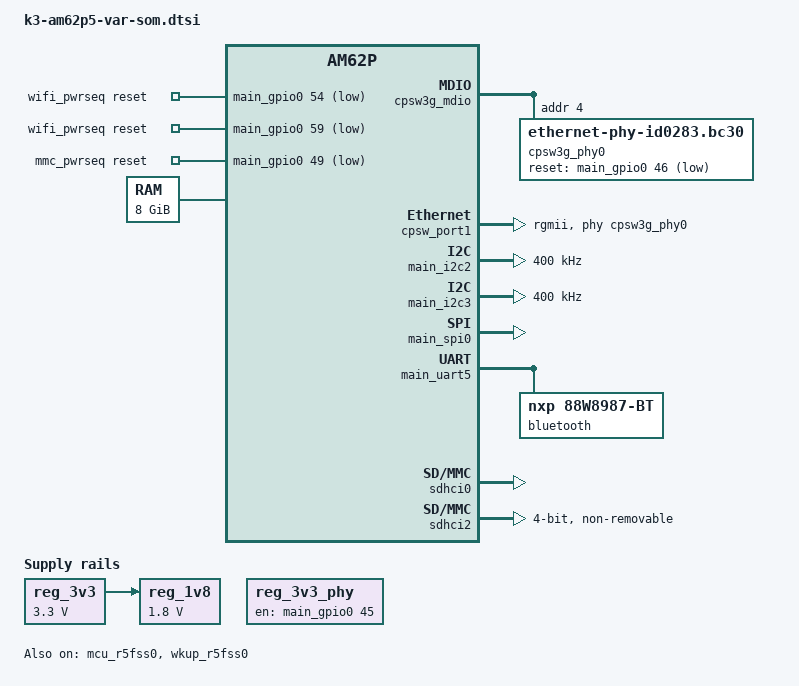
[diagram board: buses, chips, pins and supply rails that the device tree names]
// SPDX-License-Identifier: GPL-2.0
/*
 * Common dtsi for Variscite VAR-SOM-AM62P
 *
 * Link: https://www.variscite.com/product/system-on-module-som/cortex-a53-krait/var-som-am62p-ti-sitara-am62px/
 *
 * Copyright (C) 2025 Variscite Ltd. - https://www.variscite.com/
 *
 */

/dts-v1/;

#include <dt-bindings/gpio/gpio.h>
#include <dt-bindings/input/input.h>
#include <dt-bindings/interrupt-controller/arm-gic.h>
#include <dt-bindings/leds/common.h>
#include <dt-bindings/pwm/pwm.h>
#include "k3-am62p5.dtsi"

/ {
	compatible = "variscite,var-som-am62p", "ti,am62p5";

	wifi_pwrseq: wifi-pwrseq {
		compatible = "mmc-pwrseq-simple";
		post-power-on-delay-ms = <100>;
		power-off-delay-us = <10000>;
		reset-gpios = <&main_gpio0 54 GPIO_ACTIVE_LOW>,	/* WIFI_PWR_EN */
			      <&main_gpio0 59 GPIO_ACTIVE_LOW>;	/* WIFI_EN */
	};

	mmc_pwrseq: mmc-pwrseq {
		compatible = "mmc-pwrseq-emmc";
		pinctrl-names = "default";
		pinctrl-0 = <&pinctrl_mmc_pwrseq>;
		reset-gpios = <&main_gpio0 49 GPIO_ACTIVE_LOW>;
	};

	memory@80000000 {
		/* 8G RAM */
		reg = <0x00000000 0x80000000 0x00000000 0x80000000>,
		      <0x00000008 0x80000000 0x00000001 0x80000000>;
		device_type = "memory";
		bootph-pre-ram;
	};

	opp-table {
		/* Add 1.4GHz OPP for am62p5-sk board. Requires VDD_CORE at 0v85 */
		opp-1400000000 {
			opp-hz = /bits/ 64 <1400000000>;
			opp-supported-hw = <0x01 0x0004>;
			clock-latency-ns = <6000000>;
		};
	};

	reserved_memory: reserved-memory {
		#address-cells = <2>;
		#size-cells = <2>;
		ranges;

		rtos_ipc_memory_region: rtos-ipc-memory@9b500000 {
			compatible = "shared-dma-pool";
			reg = <0x00 0x9b500000 0x00 0x00300000>;
			no-map;
		};

		mcu_r5fss0_core0_dma_memory_region: mcu-r5fss-dma-memory-region@9b800000 {
			compatible = "shared-dma-pool";
			reg = <0x00 0x9b800000 0x00 0x00100000>;
			no-map;
		};

		mcu_r5fss0_core0_memory_region: mcu-r5fss-memory-region@9b900000 {
			compatible = "shared-dma-pool";
			reg = <0x00 0x9b900000 0x00 0x00f00000>;
			no-map;
		};

		wkup_r5fss0_core0_dma_memory_region: r5f-dma-memory@9c800000 {
			compatible = "shared-dma-pool";
			reg = <0x00 0x9c800000 0x00 0x00100000>;
			no-map;
		};

		wkup_r5fss0_core0_memory_region: r5f-memory@9c900000 {
			compatible = "shared-dma-pool";
			reg = <0x00 0x9c900000 0x00 0x01e00000>;
			no-map;
		};

		secure_tfa_ddr: tfa@9e780000 {
			reg = <0x00 0x9e780000 0x00 0x80000>;
			no-map;
		};

		secure_ddr: optee@9e800000 {
			reg = <0x00 0x9e800000 0x00 0x01800000>; /* for OP-TEE */
			no-map;
		};
	};

	reg_3v3: regulator-3v3 {
		compatible = "regulator-fixed";
		regulator-name = "On-module +V3.3";
		regulator-min-microvolt = <3300000>;
		regulator-max-microvolt = <3300000>;
		regulator-always-on;
		regulator-boot-on;
	};

	reg_1v8: regulator-1v8 {
		compatible = "regulator-fixed";
		regulator-name = "On-module +V1.8";
		regulator-min-microvolt = <1800000>;
		regulator-max-microvolt = <1800000>;
		vin-supply = <&reg_3v3>;
		regulator-always-on;
		regulator-boot-on;
	};

	reg_3v3_phy: regulator-3v3-phy {
		compatible = "regulator-fixed";
		regulator-name = "On-module +V3.3_PHY";
		gpios = <&main_gpio0 45 GPIO_ACTIVE_HIGH>;
		enable-active-high;
		regulator-always-on;
	};
};

&cpsw3g {
	pinctrl-names = "default";
	pinctrl-0 = <&pinctrl_rgmii1>;
};

&cpsw3g_mdio {
	pinctrl-names = "default";
	pinctrl-0 = <&pinctrl_mdio1>;
	status = "okay";

	cpsw3g_phy0: ethernet-phy@4 {
		compatible = "ethernet-phy-id0283.bc30";
		reg = <4>;
		reset-gpios = <&main_gpio0 46 GPIO_ACTIVE_LOW>;
		reset-assert-us = <10000>;
		reset-deassert-us = <100000>;
	};
};

&cpsw_port1 {
	/*
	 * The required RGMII TX and RX 2ns delays are implemented directly
	 * in hardware via passive delay elements on the SOM PCB.
	 * No delay configuration is needed in software via PHY driver.
	 */
	phy-mode = "rgmii";
	phy-handle = <&cpsw3g_phy0>;
	status = "okay";
};

&main_i2c2 {
	pinctrl-names = "default";
	pinctrl-0 = <&pinctrl_i2c2>;
	clock-frequency = <400000>;
	status = "okay";
};

&main_i2c3 {
	pinctrl-names = "default";
	pinctrl-0 = <&pinctrl_i2c3>;
	clock-frequency = <400000>;
	status = "okay";
};

&main_pmx0 {
	pinctrl_mmc_pwrseq: main-emmc-pwrseq-pins {
		pinctrl-single,pins = <
			AM62PX_IOPAD(0x00c8, PIN_OUTPUT, 7) /* (AB23) VOUT0_DATA4.GPIO0_49 */
		>;
	};

	pinctrl_i2c2: main-i2c2-default-pins {
		pinctrl-single,pins = <
			AM62PX_IOPAD(0x00b0, PIN_INPUT_PULLUP, 1) /* (T22) GPMC0_CSn2.I2C2_SCL */
			AM62PX_IOPAD(0x00b4, PIN_INPUT_PULLUP, 1) /* (U25) GPMC0_CSn3.I2C2_SDA */
		>;
	};

	pinctrl_i2c3: main-i2c3-default-pins {
		pinctrl-single,pins = <
			AM62PX_IOPAD(0x01d0, PIN_INPUT_PULLUP, 2) /* (A23) UART0_CTSn.I2C3_SCL */
			AM62PX_IOPAD(0x01d4, PIN_INPUT_PULLUP, 2) /* (C22) UART0_RTSn.I2C3_SDA */
		>;
	};

	pinctrl_mdio1: main-mdio1-default-pins {
		pinctrl-single,pins = <
			AM62PX_IOPAD(0x0160, PIN_OUTPUT, 0) /* (F17) MDIO0_MDC */
			AM62PX_IOPAD(0x015c, PIN_INPUT, 0) /* (F16) MDIO0_MDIO */
		>;
	};

	pinctrl_mmc2: main-mmc2-default-pins {
		pinctrl-single,pins = <
			AM62PX_IOPAD(0x0120, PIN_INPUT_PULLUP, 0) /* (K24) MMC2_CMD */
			AM62PX_IOPAD(0x0118, PIN_INPUT_PULLDOWN, 0) /* (K21) MMC2_CLK */
			AM62PX_IOPAD(0x011c, PIN_INPUT_PULLUP, 0) /* () MMC2_CLKLB */
			AM62PX_IOPAD(0x0114, PIN_INPUT_PULLUP, 0) /* (K23) MMC2_DAT0 */
			AM62PX_IOPAD(0x0110, PIN_INPUT_PULLUP, 0) /* (K22) MMC2_DAT1 */
			AM62PX_IOPAD(0x010c, PIN_INPUT_PULLUP, 0) /* (L20) MMC2_DAT2 */
			AM62PX_IOPAD(0x0108, PIN_INPUT_PULLUP, 0) /* (L21) MMC2_DAT3 */
		>;
	};

	pinctrl_rgmii1: main-rgmii1-default-pins {
		pinctrl-single,pins = <
			AM62PX_IOPAD(0x014c, PIN_INPUT, 0) /* (B15) RGMII1_RD0 */
			AM62PX_IOPAD(0x0150, PIN_INPUT, 0) /* (B16) RGMII1_RD1 */
			AM62PX_IOPAD(0x0154, PIN_INPUT, 0) /* (A14) RGMII1_RD2 */
			AM62PX_IOPAD(0x0158, PIN_INPUT, 0) /* (B14) RGMII1_RD3 */
			AM62PX_IOPAD(0x0148, PIN_INPUT, 0) /* (A16) RGMII1_RXC */
			AM62PX_IOPAD(0x0144, PIN_INPUT, 0) /* (A15) RGMII1_RX_CTL */
			AM62PX_IOPAD(0x0134, PIN_INPUT, 0) /* (A18) RGMII1_TD0 */
			AM62PX_IOPAD(0x0138, PIN_INPUT, 0) /* (C17) RGMII1_TD1 */
			AM62PX_IOPAD(0x013c, PIN_INPUT, 0) /* (A17) RGMII1_TD2 */
			AM62PX_IOPAD(0x0140, PIN_INPUT, 0) /* (C16) RGMII1_TD3 */
			AM62PX_IOPAD(0x0130, PIN_INPUT, 0) /* (B17) RGMII1_TXC */
			AM62PX_IOPAD(0x012c, PIN_INPUT, 0) /* (B18) RGMII1_TX_CTL */
		>;
		bootph-all;
	};

	pinctrl_spi0: main-spi0-default-pins {
		pinctrl-single,pins = <
			AM62PX_IOPAD(0x01bc, PIN_OUTPUT, 0) /* (B21) SPI0_CLK */
			AM62PX_IOPAD(0x01b4, PIN_OUTPUT, 0) /* (D20) SPI0_CS0 */
			AM62PX_IOPAD(0x01c0, PIN_OUTPUT, 0) /* (B20) SPI0_D0 */
			AM62PX_IOPAD(0x01c4, PIN_INPUT, 0) /* (C21) SPI0_D1 */
		>;
	};

	pinctrl_uart5: main-uart5-default-pins {
		pinctrl-single,pins = <
			AM62PX_IOPAD(0x00ec, PIN_INPUT, 4) /* (AC21) VOUT0_DATA13.UART5_CTSn */
			AM62PX_IOPAD(0x00e8, PIN_OUTPUT, 4) /* (AD21) VOUT0_DATA12.UART5_RTSn */
			AM62PX_IOPAD(0x00d0, PIN_INPUT, 4) /* (AC23) VOUT0_DATA6.UART5_RXD */
			AM62PX_IOPAD(0x00d4, PIN_OUTPUT, 4) /* (AE23) VOUT0_DATA7.UART5_TXD */
		>;
	};

	pinctrl_bt: main-btgrp-pins {
		pinctrl-single,pins = <
			AM62PX_IOPAD(0x00f4, PIN_OUTPUT, 7) /* (Y20) VOUT0_DATA15.GPIO0_60 (BT_EN) */
		>;
	};

	pinctrl_restouch: main-restouch-pins {
		pinctrl-single,pins = <
			AM62PX_IOPAD(0x00c4, PIN_INPUT_PULLUP, 7) /* (Y23) VOUT0_DATA3.GPIO0_48 */
		>;
	};

	pinctrl_wifi: main-wifi-default-pins {
		pinctrl-single,pins = <
			AM62PX_IOPAD(0x00dc, PIN_OUTPUT, 7) /* (AC22) VOUT0_DATA9.GPIO0_54 - WIFI_PWR_EN - */
			AM62PX_IOPAD(0x00f0, PIN_OUTPUT, 7) /* (AA20) VOUT0_DATA14.GPIO0_59 - WIFI_EN - */
		>;
	};
};

&mcu_pmx0 {
	pinctrl_wkup_clkout0: wkup-clkout0-default-pins {
		pinctrl-single,pins = <
			AM62PX_MCU_IOPAD(0x0084, PIN_OUTPUT, 0) /* (F13) WKUP_CLKOUT0 */
		>;
	};
};

&main_spi0 {
	pinctrl-names = "default";
	pinctrl-0 = <&pinctrl_spi0>;
	ti,pindir-d0-out-d1-in;
	status = "okay";
};

&main_uart5 {
	pinctrl-names = "default";
	pinctrl-0 = <&pinctrl_uart5>, <&pinctrl_bt>;
	uart-has-rtscts;
	status = "okay";

	bluetooth {
		compatible = "nxp,88w8987-bt";
	};
};

&sdhci0 {
	/* On-module eMMC */
	ti,driver-strength-ohm = <50>;
	mmc-pwrseq = <&mmc_pwrseq>;
	bootph-all;
	status = "okay";
};

&sdhci2 {
	/* On-module WiFi */
	pinctrl-names = "default";
	pinctrl-0 = <&pinctrl_mmc2>, <&pinctrl_wifi>;
	bus-width = <4>;
	non-removable;
	keep-power-in-suspend;
	mmc-pwrseq = <&wifi_pwrseq>;
	ti,fails-without-test-cd;
	status = "okay";
};

&usbss0 {
	ti,vbus-divider;
};

&usbss1 {
	ti,vbus-divider;
};

&mailbox0_cluster0 {
	status = "okay";

	mbox_r5_0: mbox-r5-0 {
		ti,mbox-rx = <0 0 0>;
		ti,mbox-tx = <1 0 0>;
	};
};

&mailbox0_cluster1 {
	status = "okay";

	mbox_mcu_r5_0: mbox-mcu-r5-0 {
		ti,mbox-rx = <0 0 0>;
		ti,mbox-tx = <1 0 0>;
	};
};

&mcu_r5fss0 {
	status = "okay";
};

&mcu_r5fss0_core0 {
	mboxes = <&mailbox0_cluster1 &mbox_mcu_r5_0>;
	memory-region = <&mcu_r5fss0_core0_dma_memory_region>,
			<&mcu_r5fss0_core0_memory_region>;
};

&wkup_r5fss0 {
	status = "okay";
};

&wkup_r5fss0_core0 {
	mboxes = <&mailbox0_cluster0 &mbox_r5_0>;
	memory-region = <&wkup_r5fss0_core0_dma_memory_region>,
			<&wkup_r5fss0_core0_memory_region>;
};

/* mcu_gpio0 and mcu_gpio_intr are reserved for mcu firmware usage */
&mcu_gpio0 {
	status = "reserved";
};

&mcu_gpio_intr {
	status = "reserved";
};

&wkup_rtc0 {
	status = "disabled";
};

&wkup_rti0 {
	/* WKUP RTI0 is used by DM firmware */
	status = "reserved";
};

&wkup_uart0 {
	/* WKUP UART0 is used by DM firmware */
	status = "reserved";
};

&main_uart1 {
	/* Main UART1 is used by TIFS firmware */
	status = "reserved";
};
